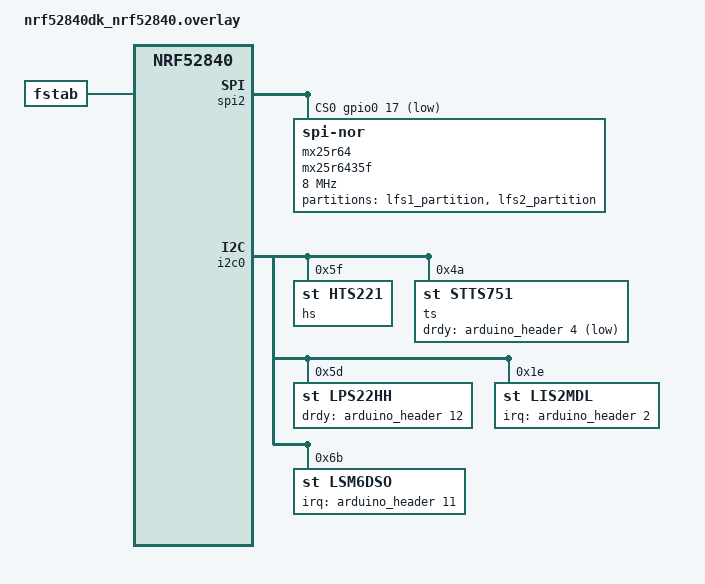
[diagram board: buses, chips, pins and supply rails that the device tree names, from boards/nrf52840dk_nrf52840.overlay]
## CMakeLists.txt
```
# SPDX-License-Identifier: Apache-2.0

cmake_minimum_required(VERSION 3.20.0)
find_package(Zephyr REQUIRED HINTS $ENV{ZEPHYR_BASE})
project(sensor_demo)

FILE(GLOB app_sources src/*.c)
target_sources(app PRIVATE ${app_sources})
```

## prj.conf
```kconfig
CONFIG_I2C=y
CONFIG_SENSOR=y
CONFIG_CBPRINTF_FP_SUPPORT=y
CONFIG_LOG=y
CONFIG_SHELL=y

CONFIG_FLASH=y
CONFIG_FLASH_MAP=y

CONFIG_FILE_SYSTEM=y
CONFIG_FILE_SYSTEM_LITTLEFS=y
```

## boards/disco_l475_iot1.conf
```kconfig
CONFIG_LSM6DSL_TRIGGER_GLOBAL_THREAD=y
```

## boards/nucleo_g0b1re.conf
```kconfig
CONFIG_HTS221_TRIGGER_NONE=y
CONFIG_LPS22HH_TRIGGER_OWN_THREAD=y
CONFIG_STTS751_TRIGGER_NONE=y
CONFIG_LIS2MDL_TRIGGER_NONE=y
CONFIG_LSM6DSO_ENABLE_TEMP=n
CONFIG_LSM6DSO_TRIGGER_OWN_THREAD=y
```

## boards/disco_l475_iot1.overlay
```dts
/delete-node/ &boot_partition;
/delete-node/ &slot0_partition;
/delete-node/ &slot1_partition;
/delete-node/ &storage_partition;

&flash0 {
    partitions {
        compatible = "fixed-partitions";
        #address-cells = <1>;
        #size-cells = <1>;

        boot_partition: partition@0 {
            label = "mcuboot";
            reg = <0x0 DT_SIZE_K(64)>;
            read-only;
        };

        slot0_partition: partition@10000 {
            label = "image-0";
            reg = <0x10000 DT_SIZE_K(64)>;
        };

        slot1_partition: partition@20000 {
            label = "image-1";
            reg = <0x20000 DT_SIZE_K(64)>;
        };

        storage_partition: partition@30000 {
            label = "storage";
            reg = <0x30000 DT_SIZE_K(100)>;
        };

        lfs1_partition: partition@49000 {
            label = "lfs1";
            reg = <0x49000 DT_SIZE_K(100)>;
        };

        lfs2_partition: partition@62000 {
            label = "lfs2";
            reg = <0x62000 DT_SIZE_K(100)>;
        };
    };
};

/ {

    aliases {
        imu-sensor = &lsm6dso;
        hum-sensor = &hs;
        magn-sensor = &lis2mdl;
        pressure-sensor = &lps22hh;
        temp-sensor = &ts;
    };
};

&i2c2 {

    hts: hts221@5f {
        compatible = "st,hts221";
        reg = <0x5f>;
        drdy-gpios = <&gpiod 15 GPIO_ACTIVE_HIGH>;
    };

    lps22hb: lps22hb-press@5d {
        compatible = "st,lps22hb-press";
        reg = <0x5d>;
        drdy-gpios = <&arduino_header 12 GPIO_ACTIVE_HIGH>; /* D6 */
    };

    lsm6dsl: lsm6dsl@6a {
        compatible = "st,lsm6dsl";
        reg = <0x6a>;
        irq-gpios = <&gpiod 11 GPIO_ACTIVE_HIGH>;
    };
};
```

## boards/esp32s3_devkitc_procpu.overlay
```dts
/delete-node/ &boot_partition;
/delete-node/ &slot0_partition;
/delete-node/ &slot1_partition;
/delete-node/ &storage_partition;

&flash0 {
    partitions {
        compatible = "fixed-partitions";
        #address-cells = <1>;
        #size-cells = <1>;

        boot_partition: partition@0 {
            label = "mcuboot";
            reg = <0x0 DT_SIZE_K(64)>;
            read-only;
        };

        slot0_partition: partition@10000 {
            label = "image-0";
            reg = <0x10000 DT_SIZE_K(64)>;
        };

        slot1_partition: partition@20000 {
            label = "image-1";
            reg = <0x20000 DT_SIZE_K(64)>;
        };

        storage_partition: partition@30000 {
            label = "storage";
            reg = <0x30000 DT_SIZE_K(100)>;
        };

        lfs1_partition: partition@49000 {
            label = "lfs1";
            reg = <0x49000 DT_SIZE_K(100)>;
        };

        lfs2_partition: partition@62000 {
            label = "lfs2";
            reg = <0x62000 DT_SIZE_K(100)>;
        };
    };
};

/ {

    aliases {
        imu-sensor = &lsm6dso;
        hum-sensor = &hs;
        magn-sensor = &lis2mdl;
        pressure-sensor = &lps22hh;
        temp-sensor = &ts;
    };
};

&i2c0 {
    status = "okay";
    hs: hts221@5f {
        compatible = "st,hts221";
        reg = <0x5f>;
    };

    ts: stts751@4a {
        compatible = "st,stts751";
        reg = <0x4a>;
    };

    lps22hh: lps22hh@5d {
        compatible = "st,lps22hh";
        reg = <0x5d>;
    };

    lis2mdl: lis2mdl@1e {
        compatible = "st,lis2mdl";
        reg = <0x1e>;
    };

    lsm6dso: lsm6dso@6b {
        compatible = "st,lsm6dso";
        reg = <0x6b>;
        irq-gpios = <&gpio0 11 GPIO_ACTIVE_HIGH>;
        int-pin = <2>;
    };
};
```

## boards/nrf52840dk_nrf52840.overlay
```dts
/delete-node/ &mx25r64;

&qspi {
    status = "disabled";
};

/* The mx25, on nrf52840dk/nrf52840, uses pins for spi0, spi1, spi2 and spi3
 * to provide quad-spi feature. In individual specifications each of the spi
 * notes define own clock source (SCK), but spi2 shares the same clock source
 * as qspi configuration, which is pin (0,19). That is why spi2 is used here
 * to communicate with mx25, when qspi is not used, to avoid rerouting clock
 * pin.
 */
&spi2 {
    compatible = "nordic,nrf-spi";
    status = "okay";
    cs-gpios = <&gpio0 17 GPIO_ACTIVE_LOW>;
    pinctrl-0 = <&spi2_default>;
    pinctrl-1 = <&spi2_sleep>;
    pinctrl-names = "default", "sleep";
    mx25r64: mx25r6435f@0 {
        compatible = "jedec,spi-nor";
        reg = <0>;
        spi-max-frequency = <8000000>;
        jedec-id = [c2 28 17];
        sfdp-bfp = [e5 20 f1 ff ff ff ff 03 44 eb 08 6b 08 3b 04 bb
                    ee ff ff ff ff ff 00 ff ff ff 00 ff 0c 20 0f 52
                    10 d8 00 ff 23 72 f5 00 82 ed 04 cc 44 83 68 44
                    30 b0 30 b0 f7 c4 d5 5c 00 be 29 ff f0 d0 ff ff];
        size = <67108864>;
        has-dpd;
        t-enter-dpd = <10000>;
        t-exit-dpd = <35000>;
    };
};

&mx25r64 {
    partitions {
        compatible = "fixed-partitions";
        #address-cells = <1>;
        #size-cells = <1>;

        lfs1_partition: partition@0 {
            label = "lfs1_partition";
            reg = <0x00000000 0x00010000>;
        };
        lfs2_partition: partition@10000 {
            label = "lfs2_partition";
            reg = <0x00010000 0x00010000>;
        };
    };
};

/ {

    aliases {
        imu-sensor = &lsm6dso;
        hum-sensor = &hs;
        magn-sensor = &lis2mdl;
        pressure-sensor = &lps22hh;
        temp-sensor = &ts;
    };
};

&i2c0 {
    hs: hts221@5f {
        compatible = "st,hts221";
        reg = <0x5f>;
    };

    ts: stts751@4a {
        compatible = "st,stts751";
        reg = <0x4a>;
        drdy-gpios = <&arduino_header 4 GPIO_ACTIVE_LOW>; /* A4 */
    };

    lps22hh: lps22hh@5d {
        compatible = "st,lps22hh";
        reg = <0x5d>;
        drdy-gpios = <&arduino_header 12 GPIO_ACTIVE_HIGH>; /* D6 */
    };

    lis2mdl: lis2mdl@1e {
        compatible = "st,lis2mdl";
        reg = <0x1e>;
        irq-gpios = <&arduino_header 2 GPIO_ACTIVE_HIGH>; /* A2 */
    };

    lsm6dso: lsm6dso@6b {
        compatible = "st,lsm6dso";
        reg = <0x6b>;
        irq-gpios = <&arduino_header 11 GPIO_ACTIVE_HIGH>; /* D5 */
        int-pin = <2>;
    };
};

/ {
    fstab {
        compatible = "zephyr,fstab";
        lfs1: lfs1 {
            compatible = "zephyr,fstab,littlefs";
            read-size = <16>;
            prog-size = <16>;
            cache-size = <64>;
            lookahead-size = <32>;
            block-cycles = <512>;
            partition = <&lfs1_partition>;
            mount-point = "/lfs1";
            automount;
        };
        lfs2: lfs2 {
            compatible = "zephyr,fstab,littlefs";
            read-size = <16>;
            prog-size = <16>;
            cache-size = <64>;
            lookahead-size = <32>;
            block-cycles = <512>;
            partition = <&lfs2_partition>;
            mount-point = "/lfs2";
            automount;
        };
    };
};
```

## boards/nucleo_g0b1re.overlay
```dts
/delete-node/ &boot_partition;
/delete-node/ &slot0_partition;
/delete-node/ &slot1_partition;
/delete-node/ &storage_partition;

&flash0 {
    partitions {
        compatible = "fixed-partitions";
        #address-cells = <1>;
        #size-cells = <1>;

        boot_partition: partition@0 {
            label = "mcuboot";
            reg = <0x0 DT_SIZE_K(64)>;
            read-only;
        };

        slot0_partition: partition@10000 {
            label = "image-0";
            reg = <0x10000 DT_SIZE_K(64)>;
        };

        slot1_partition: partition@20000 {
            label = "image-1";
            reg = <0x20000 DT_SIZE_K(64)>;
        };

        storage_partition: partition@30000 {
            label = "storage";
            reg = <0x30000 DT_SIZE_K(100)>;
        };

        lfs1_partition: partition@49000 {
            label = "lfs1";
            reg = <0x49000 DT_SIZE_K(100)>;
        };

        lfs2_partition: partition@62000 {
            label = "lfs2";
            reg = <0x62000 DT_SIZE_K(100)>;
        };
    };
};

/ {

    aliases {
        imu-sensor = &lsm6dso;
        hum-sensor = &hs;
        magn-sensor = &lis2mdl;
        pressure-sensor = &lps22hh;
        temp-sensor = &ts;
    };
};

arduino_i2c: &i2c1 {
    hs: hts221@5f {
        compatible = "st,hts221";
        reg = <0x5f>;
    };

    ts: stts751@4a {
        compatible = "st,stts751";
        reg = <0x4a>;
        drdy-gpios = <&arduino_header 4 GPIO_ACTIVE_LOW>; /* A4 */
    };

    lps22hh: lps22hh@5d {
        compatible = "st,lps22hh";
        reg = <0x5d>;
        drdy-gpios = <&arduino_header 12 GPIO_ACTIVE_HIGH>; /* D6 */
    };

    lis2mdl: lis2mdl@1e {
        compatible = "st,lis2mdl";
        reg = <0x1e>;
        irq-gpios = <&arduino_header 2 GPIO_ACTIVE_HIGH>; /* A2 */
    };

    lsm6dso: lsm6dso@6b {
        compatible = "st,lsm6dso";
        reg = <0x6b>;
        irq-gpios = <&arduino_header 11 GPIO_ACTIVE_HIGH>; /* D5 */
        int-pin = <2>;
    };
};

/ {
    fstab {
        compatible = "zephyr,fstab";
        lfs1: lfs1 {
            compatible = "zephyr,fstab,littlefs";
            read-size = <256>;
            prog-size = <256>;
            cache-size = <4096>;
            lookahead-size = <256>;
            block-cycles = <512>;
            partition = <&lfs1_partition>;
            mount-point = "/lfs1";
            automount;
        };
        lfs2: lfs2 {
            compatible = "zephyr,fstab,littlefs";
            read-size = <256>;
            prog-size = <256>;
            cache-size = <4096>;
            lookahead-size = <256>;
            block-cycles = <512>;
            partition = <&lfs2_partition>;
            mount-point = "/lfs2";
            automount;
        };
    };
};
```

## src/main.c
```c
/**
 * @file main.c
 * @author Ankit Modi (ankit.5036@gmail.com)
 * @brief Entry point for the Zephyr LVGL Showcase Application.
 *
 * This file contains the main function for the Zephyr LVGL Showcase Application.
 * It initializes the logging module and prints a startup message indicating
 * the board on which the application is running.
 *
 * @copyright Copyright (c) 2025
 *
 */
//------------------------------------------------------------------------------

//------------------------------------------------------------------------------
// Includes
//------------------------------------------------------------------------------

#include <zephyr/logging/log.h>

//------------------------------------------------------------------------------
// #define/Constants/Macros
//------------------------------------------------------------------------------

//------------------------------------------------------------------------------
// typedef/structs/enums
//------------------------------------------------------------------------------

//------------------------------------------------------------------------------
// Private Variables
//------------------------------------------------------------------------------

LOG_MODULE_REGISTER(main);

//------------------------------------------------------------------------------
// Main Entry Function
//------------------------------------------------------------------------------

/**
 * @brief Main entry point of the application.
 * @return int Returns 0 upon successful execution.
 */

int main(void)
{
    LOG_INF("Zephyr LVGL Showcase Application Started on %s.", CONFIG_BOARD);
    return 0;
}
```

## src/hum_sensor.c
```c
/**
 * @file hum_sensor.c
 * @author Ankit Modi (ankit.5036@gmail.com)
 * @brief Humidity sensor interface.
 *
 * This file implements initialization, sampling, and logging of humidity
 * data from a sensor using Zephyr's sensor API. It creates a thread to periodically
 * fetch and display sensor readings.
 *
 * @copyright Copyright (c) 2025
 *
 */
//------------------------------------------------------------------------------

//------------------------------------------------------------------------------
// Includes
//------------------------------------------------------------------------------

#include <zephyr/device.h>
#include <zephyr/drivers/sensor.h>
#include <zephyr/kernel.h>
#include <zephyr/logging/log.h>

//------------------------------------------------------------------------------
// #define/Constants/Macros
//------------------------------------------------------------------------------
#define HUMID_THREAD_STACK_SIZE 512
#define HUMID_THREAD_PRIORITY   5

#define HUMID_SAMPLE_DELAY 1 // 1 Second

#if DT_NODE_EXISTS(DT_ALIAS(hum_sensor))
#define HUMID_NODE DT_ALIAS(hum_sensor)
static const struct device *const hum_dev = DEVICE_DT_GET(HUMID_NODE);
#else
#error("Humidity sensor not found.");
#endif

//------------------------------------------------------------------------------
// typedef/structs/enums
//------------------------------------------------------------------------------

//------------------------------------------------------------------------------
// Private Variables
//------------------------------------------------------------------------------

LOG_MODULE_REGISTER(hum);

K_THREAD_STACK_DEFINE(hum_stack_area, HUMID_THREAD_STACK_SIZE);

static struct k_thread hum_thread;
static k_tid_t hum_tid;

//------------------------------------------------------------------------------
// Private Function Prototypes
//------------------------------------------------------------------------------

static void humidity_sensor_thread(void *arg0, void *arg1, void *arg2);
static int humidity_sensor_process_sample(double *hum);
static int humidity_sensor_init(void);

//------------------------------------------------------------------------------
// Public Function Implementation
//------------------------------------------------------------------------------

//------------------------------------------------------------------------------
// Private Function Implementation
//------------------------------------------------------------------------------

/* Humidity Sensor Thread Function */
static void humidity_sensor_thread(void *arg0, void *arg1, void *arg2)
{
    while (1) {
        double hum;
        if (humidity_sensor_process_sample(&hum) < 0) {
            return;
        }

        /* display humidity */
        LOG_INF("Relative Humidity:%.1f%%", hum);
        k_sleep(K_SECONDS(HUMID_SAMPLE_DELAY));
    }
}

/**
 * @brief Process and log the humidity sensor sample.
 *
 * This function fetches the latest sensor data, checks if the device is ready,
 * and logs the temperature values. The measured humidity are returned via the provided pointers.
 *
 * @param hum Pointer to store the measured humidity value.
 * @return int Returns 0 on success, or a negative error code on failure.
 */
static int humidity_sensor_process_sample(double *hum)
{
    if (!device_is_ready(hum_dev)) {
        LOG_ERR("sensor: %s device not ready.", hum_dev->name);
        return -ENODEV;
    }

    if (sensor_sample_fetch(hum_dev) < 0) {
        LOG_ERR("sensor: %s sample update error", hum_dev->name);
        return -EIO;
    }

    struct sensor_value temp_val, hum_val;
    if (sensor_channel_get(hum_dev, SENSOR_CHAN_HUMIDITY, &hum_val) < 0) {
        LOG_ERR("sensor: %s read humidity channel failed", hum_dev->name);
        return -EINVAL;
    }
    *hum = sensor_value_to_double(&hum_val);

    if (sensor_channel_get(hum_dev, SENSOR_CHAN_AMBIENT_TEMP, &temp_val) < 0) {
        LOG_ERR("sensor: %s read temperature channel failed", hum_dev->name);
        return -EINVAL;
    }
    return 0;
}

/**
 * @brief Initialize the humidity sensor.
 *
 * This function checks if the sensor device is ready and processes an initial sample.
 *
 * @return int Returns 0 upon successful initialization, or a negative error code on failure.
 */
static int humidity_sensor_init(void)
{
    if (!device_is_ready(hum_dev)) {
        LOG_ERR("sensor: %s device not ready.", hum_dev->name);
        return -ENODEV;
    }

    hum_tid = k_thread_create(&hum_thread, hum_stack_area, K_THREAD_STACK_SIZEOF(hum_stack_area),
                              humidity_sensor_thread, NULL, NULL, NULL, HUMID_THREAD_PRIORITY, 0, K_NO_WAIT);
    LOG_INF("Humidity sensor %s initialized.", hum_dev->name);
    return 0;
}

SYS_INIT(humidity_sensor_init, APPLICATION, CONFIG_APPLICATION_INIT_PRIORITY);
```

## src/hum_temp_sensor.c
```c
/**
 * @file hum_temp_sensor.c
 * @author Ankit Modi (ankit.5036@gmail.com)
 * @brief Humidity and Temperature sensor interface.
 *
 * This file implements initialization, sampling, and logging of humidity and temperature
 * data from a sensor using Zephyr's sensor API. It creates a thread to periodically
 * fetch and display sensor readings.
 *
 * @copyright Copyright (c) 2025
 *
 */
//------------------------------------------------------------------------------

//------------------------------------------------------------------------------
// Includes
//------------------------------------------------------------------------------

#include <zephyr/device.h>
#include <zephyr/drivers/sensor.h>
#include <zephyr/kernel.h>
#include <zephyr/logging/log.h>

//------------------------------------------------------------------------------
// #define/Constants/Macros
//------------------------------------------------------------------------------
#define HTS_THREAD_STACK_SIZE 512
#define HTS_THREAD_PRIORITY   5

#define HTS_SAMPLE_DELAY 10 // 10 Seconds

#if DT_NODE_EXISTS(DT_ALIAS(ht_sensor))
#define HUM_TEMP_NODE DT_ALIAS(ht_sensor)
static const struct device *const hts_dev = DEVICE_DT_GET(DT_ALIAS(ht_sensor));
#else
#error("Humidity-Temperature sensor not found.");
#endif

//------------------------------------------------------------------------------
// typedef/structs/enums
//------------------------------------------------------------------------------

//------------------------------------------------------------------------------
// Private Variables
//------------------------------------------------------------------------------

LOG_MODULE_REGISTER(ht_sensor);

K_THREAD_STACK_DEFINE(hts_stack_area, HTS_THREAD_STACK_SIZE);

static struct k_thread hts_thread;
static k_tid_t hts_tid;

//------------------------------------------------------------------------------
// Private Function Prototypes
//------------------------------------------------------------------------------

static void hts_sensor_thread(void *arg0, void *arg1, void *arg2);
static int hum_temp_sensor_process_sample(double *hum, double *temp);
static int hun_temp_sensor_init(void);

//------------------------------------------------------------------------------
// Public Function Implementation
//------------------------------------------------------------------------------

//------------------------------------------------------------------------------
// Private Function Implementation
//------------------------------------------------------------------------------

/* Humidity-Temperature Sensor Thread Function */
static void hts_sensor_thread(void *arg0, void *arg1, void *arg2)
{
    while (1) {
        double hum, temp;
        if (hum_temp_sensor_process_sample(&hum, &temp) < 0) {
            return;
        }
        /* display temperature */
        LOG_INF("Temperature:%.1f C", temp);

        /* display humidity */
        LOG_INF("Relative Humidity:%.1f%%", hum);
        k_sleep(K_SECONDS(HTS_SAMPLE_DELAY));
    }
}

/**
 * @brief Process and log the humidity and temperature sensor sample.
 *
 * This function fetches the latest sensor data, checks if the device is ready,
 * and logs the temperature and humidity values. The measured humidity and temperature
 * are returned via the provided pointers.
 *
 * @param hum Pointer to store the measured humidity value.
 * @param temp Pointer to store the measured temperature value.
 * @return int Returns 0 on success, or a negative error code on failure.
 */
static int hum_temp_sensor_process_sample(double *hum, double *temp)
{
    if (!device_is_ready(hts_dev)) {
        LOG_ERR("sensor: %s device not ready.", hts_dev->name);
        return -ENODEV;
    }

    if (sensor_sample_fetch(hts_dev) < 0) {
        LOG_ERR("sensor: %s sample update error", hts_dev->name);
        return -EIO;
    }

    struct sensor_value temp_val, hum_val;
    if (sensor_channel_get(hts_dev, SENSOR_CHAN_AMBIENT_TEMP, &temp_val) < 0) {
        LOG_ERR("sensor: %s read temperature channel failed", hts_dev->name);
        return -EINVAL;
    }
    *temp = sensor_value_to_double(&temp_val);

    if (sensor_channel_get(hts_dev, SENSOR_CHAN_HUMIDITY, &hum_val) < 0) {
        LOG_ERR("sensor: %s read humidity channel failed", hts_dev->name);
        return -EINVAL;
    }
    *hum = sensor_value_to_double(&hum_val);
    return 0;
}

/**
 * @brief Initialize the humidity and temperature sensor.
 *
 * This function checks if the sensor device is ready and processes an initial sample.
 *
 * @return int Returns 0 upon successful initialization, or a negative error code on failure.
 */
static int hun_temp_sensor_init(void)
{
    if (!device_is_ready(hts_dev)) {
        LOG_ERR("sensor: %s device not ready.", hts_dev->name);
        return -ENODEV;
    }

    hts_tid = k_thread_create(&hts_thread, hts_stack_area, K_THREAD_STACK_SIZEOF(hts_stack_area), hts_sensor_thread,
                              NULL, NULL, NULL, HTS_THREAD_PRIORITY, 0, K_NO_WAIT);
    LOG_INF("Humidity-Temperature sensor %s initialized.", hts_dev->name);
    return 0;
}

SYS_INIT(hun_temp_sensor_init, APPLICATION, CONFIG_APPLICATION_INIT_PRIORITY);
```

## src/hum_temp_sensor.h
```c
#ifndef HUM_TEMP_SENSOR_H
#define HUM_TEMP_SENSOR_H

void hum_temp_sensor_process_sample(void);
int hun_temp_sensor_init(void);

#endif /* HUM_TEMP_SENSOR_H */
```

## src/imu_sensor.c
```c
/**
 * @file imu_sensor.c
 * @author Ankit Modi (ankit.5036@gmail.com)
 * @brief IMU sensor interface.
 *
 * This file implements initialization, sampling, and logging of IMU sensor data
 * (accelerometer and gyroscope) using Zephyr's sensor API. It creates a thread
 * for periodic sampling and logs the sensor values for use in the application.
 *
 * @copyright Copyright (c) 2025
 *
 */
//------------------------------------------------------------------------------

//------------------------------------------------------------------------------
// Includes
//------------------------------------------------------------------------------

#include <zephyr/device.h>
#include <zephyr/drivers/sensor.h>
#include <zephyr/kernel.h>
#include <zephyr/logging/log.h>

//------------------------------------------------------------------------------
// #define/Constants/Macros
//------------------------------------------------------------------------------
#define IMU_THREAD_STACK_SIZE 768
#define IMU_THREAD_PRIORITY   5

#define IMU_SAMPLE_DELAY 1 // 1 Second

#if DT_NODE_EXISTS(DT_ALIAS(imu_sensor))
#define HUM_TEMP_NODE DT_ALIAS(imu_sensor)
static const struct device *const imu_dev = DEVICE_DT_GET(DT_ALIAS(imu_sensor));
#else
#error("IMU sensor not found.");
#endif

//------------------------------------------------------------------------------
// typedef/structs/enums
//------------------------------------------------------------------------------

typedef struct {
    double x;
    double y;
    double z;
} imu_sample_t;

typedef imu_sample_t accel_t;
typedef imu_sample_t gyro_t;

//------------------------------------------------------------------------------
// Private Variables
//------------------------------------------------------------------------------

LOG_MODULE_REGISTER(imu);

K_THREAD_STACK_DEFINE(imu_stack_area, IMU_THREAD_STACK_SIZE);

static struct k_thread imu_thread;
static k_tid_t imu_tid;

static struct sensor_value accel_x, accel_y, accel_z;
static struct sensor_value gyro_x, gyro_y, gyro_z;

//------------------------------------------------------------------------------
// Private Function Prototypes
//------------------------------------------------------------------------------

static void imu_sensor_thread(void *arg0, void *arg1, void *arg2);
static int imu_sensor_sample_process(accel_t *accel_val, gyro_t *gyro_val);
static int imu_sensor_init(void);

//------------------------------------------------------------------------------
// Public Function Implementation
//------------------------------------------------------------------------------

//------------------------------------------------------------------------------
// Private Function Implementation
//------------------------------------------------------------------------------

/* IMU Sensor Thread Function */
static void imu_sensor_thread(void *arg0, void *arg1, void *arg2)
{
    while (1) {
        accel_t accel;
        gyro_t gyro;

        if (imu_sensor_sample_process(&accel, &gyro) < 0) {
            return;
        }

        LOG_INF("Accel (m*s^-2): x:%.3f y:%.3f z:%.3f", accel.x, accel.y, accel.z);
        LOG_INF("Gyro (dps): x:%.3f y:%.3f z:%.3f", gyro.x, gyro.y, gyro.z);

        k_sleep(K_SECONDS(IMU_SAMPLE_DELAY));
    }
}
/**
 * @brief Fetch and process IMU sensor sample.
 *
 * This function checks if the IMU device is ready, fetches the latest sensor data,
 * reads accelerometer and gyroscope values, and stores them in the provided structures.
 *
 * @param accel_val Pointer to accel_t structure to store accelerometer values.
 * @param gyro_val Pointer to gyro_t structure to store gyroscope values.
 * @return int Returns 0 on success, or a negative error code on failure.
 */
static int imu_sensor_sample_process(accel_t *accel_val, gyro_t *gyro_val)
{
    if (!device_is_ready(imu_dev)) {
        LOG_ERR("sensor: %s device not ready.", imu_dev->name);
        return -ENODEV;
    }

    if (sensor_sample_fetch(imu_dev) < 0) {
        LOG_ERR("sensor: %s sample update error", imu_dev->name);
        return -EIO;
    }

    /* IMU accel */
    if (sensor_sample_fetch_chan(imu_dev, SENSOR_CHAN_ACCEL_XYZ) < 0) {
        LOG_ERR("sensor: %s sample accel update error", imu_dev->name);
        return -EIO;
    }

    if ((sensor_channel_get(imu_dev, SENSOR_CHAN_ACCEL_X, &accel_x) < 0) ||
        (sensor_channel_get(imu_dev, SENSOR_CHAN_ACCEL_Y, &accel_y) < 0) ||
        (sensor_channel_get(imu_dev, SENSOR_CHAN_ACCEL_Z, &accel_z) < 0)) {
        LOG_ERR("sensor: %s read accel channel failed", imu_dev->name);
        return -EINVAL;
    }
    accel_val->x = sensor_value_to_double(&accel_x);
    accel_val->y = sensor_value_to_double(&accel_y);
    accel_val->z = sensor_value_to_double(&accel_z);

    /* IMU gyro */
    if (sensor_sample_fetch_chan(imu_dev, SENSOR_CHAN_GYRO_XYZ) < 0) {
        LOG_ERR("sensor: %s sample gyro update error", imu_dev->name);
        return -EIO;
    }

    if ((sensor_channel_get(imu_dev, SENSOR_CHAN_GYRO_X, &gyro_x) < 0) ||
        (sensor_channel_get(imu_dev, SENSOR_CHAN_GYRO_Y, &gyro_y) < 0) ||
        (sensor_channel_get(imu_dev, SENSOR_CHAN_GYRO_Z, &gyro_z) < 0)) {
        LOG_ERR("sensor: %s read gyro channel failed", imu_dev->name);
        return -EINVAL;
    }

    gyro_val->x = sensor_value_to_double(&gyro_x);
    gyro_val->y = sensor_value_to_double(&gyro_y);
    gyro_val->z = sensor_value_to_double(&gyro_z);
    return 0;
}

/**
 * @brief Initialize the IMU sensor.
 *
 * This function checks if the IMU device is ready and sets the sampling frequency
 * for accelerometer and gyroscope channels.
 *
 * @return int Returns 0 on success, or a negative error code on failure.
 */
static int imu_sensor_init(void)
{
    if (!device_is_ready(imu_dev)) {
        LOG_ERR("sensor: %s device not ready.", imu_dev->name);
        return -ENODEV;
    }

    /* set accel/gyro sampling frequency to 104 Hz */
    struct sensor_value odr_attr;
    odr_attr.val1 = 104;
    odr_attr.val2 = 0;

    if (sensor_attr_set(imu_dev, SENSOR_CHAN_ACCEL_XYZ, SENSOR_ATTR_SAMPLING_FREQUENCY, &odr_attr) < 0) {
        LOG_ERR("sensor: %s cannot set sampling frequency for accelerometer.", imu_dev->name);
        return -EINVAL;
    }

    if (sensor_attr_set(imu_dev, SENSOR_CHAN_GYRO_XYZ, SENSOR_ATTR_SAMPLING_FREQUENCY, &odr_attr) < 0) {
        LOG_ERR("sensor: %s cannot set sampling frequency for gyro.", imu_dev->name);
        return -EINVAL;
    }

    imu_tid = k_thread_create(&imu_thread, imu_stack_area, K_THREAD_STACK_SIZEOF(imu_stack_area), imu_sensor_thread,
                              NULL, NULL, NULL, IMU_THREAD_PRIORITY, 0, K_NO_WAIT);

    LOG_INF("IMU sensor %s initialized.", imu_dev->name);
    return 0;
}

SYS_INIT(imu_sensor_init, APPLICATION, CONFIG_APPLICATION_INIT_PRIORITY);
```

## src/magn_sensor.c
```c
/**
 * @file magn_sensor.c
 * @author Ankit Modi (ankit.5036@gmail.com)
 * @brief Magnetometer sensor interface.
 *
 * This file implements initialization, sampling, and logging of Magnetometer sensor data
 * using Zephyr's sensor API. It creates a thread for periodic sampling and logs the
 * sensor values for use in the application.
 *
 * @copyright Copyright (c) 2025
 *
 */
//------------------------------------------------------------------------------

//------------------------------------------------------------------------------
// Includes
//------------------------------------------------------------------------------

#include <zephyr/device.h>
#include <zephyr/drivers/sensor.h>
#include <zephyr/kernel.h>
#include <zephyr/logging/log.h>

//------------------------------------------------------------------------------
// #define/Constants/Macros
//------------------------------------------------------------------------------
#define MAGN_THREAD_STACK_SIZE 768
#define MAGN_THREAD_PRIORITY   5

#define MAGN_SAMPLE_DELAY 1 // 1 Second

#if DT_NODE_EXISTS(DT_ALIAS(magn_sensor))
#define MAGN_NODE DT_ALIAS(magn_sensor)
static const struct device *const magn_dev = DEVICE_DT_GET(MAGN_NODE);
#else
#error("Magnetometer sensor not found.");
#endif

//------------------------------------------------------------------------------
// typedef/structs/enums
//------------------------------------------------------------------------------

typedef struct {
    double magn_x;
    double magn_y;
    double magn_z;
} magn_t;

//------------------------------------------------------------------------------
// Private Variables
//------------------------------------------------------------------------------

LOG_MODULE_REGISTER(magn);

K_THREAD_STACK_DEFINE(magn_stack_area, MAGN_THREAD_STACK_SIZE);

static struct k_thread magn_thread;
static k_tid_t magn_tid;

//------------------------------------------------------------------------------
// Private Function Prototypes
//------------------------------------------------------------------------------

static void magn_sensor_thread(void *arg0, void *arg1, void *arg2);
static int magn_sensor_sample_process(magn_t *magn_val);
static int magn_sensor_init(void);

//------------------------------------------------------------------------------
// Public Function Implementation
//------------------------------------------------------------------------------

//------------------------------------------------------------------------------
// Private Function Implementation
//------------------------------------------------------------------------------

/* IMU Sensor Thread Function */
static void magn_sensor_thread(void *arg0, void *arg1, void *arg2)
{
    while (1) {
        magn_t magn;

        if (magn_sensor_sample_process(&magn) < 0) {
            return;
        }

        LOG_INF("Magn (gauss): x:%.3f y:%.3f z:%.3f", magn.magn_x, magn.magn_y, magn.magn_z);

        k_sleep(K_SECONDS(MAGN_SAMPLE_DELAY));
    }
}
/**
 * @brief Fetch and process Magnetometer sensor sample.
 *
 * This function checks if the Magnetometer device is ready, fetches the latest sensor data,
 * reads magnetometer values, and stores them in the provided structures.
 *
 * @param magn_val Pointer to accel_t structure to store magnetometer values.
 * @return int Returns 0 on success, or a negative error code on failure.
 */
static int magn_sensor_sample_process(magn_t *magn_val)
{
    if (!device_is_ready(magn_dev)) {
        LOG_ERR("sensor: %s device not ready.", magn_dev->name);
        return -ENODEV;
    }

    if (sensor_sample_fetch(magn_dev) < 0) {
        LOG_ERR("sensor: %s sample update error", magn_dev->name);
        return -EIO;
    }

    /* magnetometer */
    struct sensor_value magn[3];
    if (sensor_channel_get(magn_dev, SENSOR_CHAN_MAGN_XYZ, magn) < 0) {
        LOG_ERR("sensor: %s read magn channel failed", magn_dev->name);
        return -EINVAL;
    }
    magn_val->magn_x = sensor_value_to_double(&magn[0]);
    magn_val->magn_y = sensor_value_to_double(&magn[1]);
    magn_val->magn_z = sensor_value_to_double(&magn[2]);

    return 0;
}

/**
 * @brief Initialize the IMU sensor.
 *
 * This function checks if the IMU device is ready and sets the sampling frequency
 * for accelerometer and gyroscope channels.
 *
 * @return int Returns 0 on success, or a negative error code on failure.
 */
static int magn_sensor_init(void)
{
    if (!device_is_ready(magn_dev)) {
        LOG_ERR("sensor: %s device not ready.", magn_dev->name);
        return -ENODEV;
    }

    /* set sampling frequency to 100 Hz */
    struct sensor_value odr_attr;
    odr_attr.val1 = 100;
    odr_attr.val2 = 0;

    if (sensor_attr_set(magn_dev, SENSOR_CHAN_ALL, SENSOR_ATTR_SAMPLING_FREQUENCY, &odr_attr) < 0) {
        LOG_ERR("sensor: %s cannot set sampling frequency for magn.", magn_dev->name);
        return -EINVAL;
    }

    magn_tid = k_thread_create(&magn_thread, magn_stack_area, K_THREAD_STACK_SIZEOF(magn_stack_area),
                               magn_sensor_thread, NULL, NULL, NULL, MAGN_THREAD_PRIORITY, 0, K_NO_WAIT);

    LOG_INF("Magnetometer sensor %s initialized.", magn_dev->name);
    return 0;
}

SYS_INIT(magn_sensor_init, APPLICATION, CONFIG_APPLICATION_INIT_PRIORITY);
```

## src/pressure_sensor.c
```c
/**
 * @file pressure_sensor.c
 * @author Ankit Modi (ankit.5036@gmail.com)
 * @brief Pressure sensor interface.
 *
 * This file implements initialization, sampling, and logging of pressure sensor data
 * using Zephyr's sensor API. It creates a thread to periodically read and display
 * pressure values from the configured sensor device.
 *
 * @copyright Copyright (c) 2025
 *
 */
//------------------------------------------------------------------------------

//------------------------------------------------------------------------------
// Includes
//------------------------------------------------------------------------------

#include <zephyr/device.h>
#include <zephyr/drivers/sensor.h>
#include <zephyr/kernel.h>
#include <zephyr/logging/log.h>

//------------------------------------------------------------------------------
// #define Constants/Macros
//------------------------------------------------------------------------------
#define PS_THREAD_STACK_SIZE 512
#define PS_THREAD_PRIORITY   5

#define PS_SAMPLE_DELAY 1 // 1 Second

#if DT_NODE_EXISTS(DT_ALIAS(pressure_sensor))
#define PRESSURE_NODE DT_ALIAS(pressure_sensor)
const struct device *const pressure_dev = DEVICE_DT_GET(DT_ALIAS(pressure_sensor));
#else
#error("Pressure sensor not found.");
#endif

//------------------------------------------------------------------------------
// typedef/structs/enums
//------------------------------------------------------------------------------

//------------------------------------------------------------------------------
// Private Variables
//------------------------------------------------------------------------------

LOG_MODULE_REGISTER(press);

K_THREAD_STACK_DEFINE(ps_stack_area, PS_THREAD_STACK_SIZE);

static struct k_thread ps_thread;
static k_tid_t ps_tid;

//------------------------------------------------------------------------------
// Private Function Prototypes
//------------------------------------------------------------------------------

static void ps_sensor_thread(void *arg0, void *arg1, void *arg2);
static int pressure_sensor_process_sample(double *pressure);
static int pressure_sensor_init(void);

//------------------------------------------------------------------------------
// Public Function Implementation
//------------------------------------------------------------------------------

//------------------------------------------------------------------------------
// Private Function Implementation
//------------------------------------------------------------------------------

/* Pressure Sensor Thread Function */
static void ps_sensor_thread(void *arg0, void *arg1, void *arg2)
{
    while (1) {
        double pressure;
        if (pressure_sensor_process_sample(&pressure) < 0) {
            return;
        }

        /* display pressure */
        LOG_INF("Pressure:%.3f kPa", pressure);

        k_sleep(K_SECONDS(PS_SAMPLE_DELAY));
    }
}

/**
 * @brief Process and log the pressure sensor sample.
 *
 * This function fetches the latest sensor data, checks if the device is ready,
 * and logs the pressure value.
 *
 * @param pressure Pointer to store the measured pressure value.
 * @return int Returns 0 on success, or a negative error code on failure.
 */
static int pressure_sensor_process_sample(double *pressure)
{
    if (!device_is_ready(pressure_dev)) {
        LOG_ERR("sensor: %s device not ready.", pressure_dev->name);
        return -ENODEV;
    }

    if (sensor_sample_fetch(pressure_dev) < 0) {
        LOG_INF("sensor: %s sample update error", pressure_dev->name);
        return -EIO;
    }

    struct sensor_value pressure_val, temp_val;
    if (sensor_channel_get(pressure_dev, SENSOR_CHAN_PRESS, &pressure_val) < 0) {
        LOG_ERR("sensor: %s cannot read pressure channel", pressure_dev->name);
        return -EINVAL;
    }

    *pressure = sensor_value_to_double(&pressure_val);
    if (sensor_channel_get(pressure_dev, SENSOR_CHAN_AMBIENT_TEMP, &temp_val) < 0) {
        LOG_ERR("sensor: %s cannot read temperature channel", pressure_dev->name);
        return -EINVAL;
    }

    return 0;
}

/**
 * @brief Initialize the pressure sensor.
 *
 * This function checks if the pressure device is ready.
 *
 * @return int Returns 0 on success, or a negative error code on failure.
 */
static int pressure_sensor_init(void)
{
    if (!device_is_ready(pressure_dev)) {
        LOG_ERR("sensor: %s device not ready.", pressure_dev->name);
        return -ENODEV;
    }

    /* set sampling frequency to 100 Hz */
    struct sensor_value odr_attr;
    odr_attr.val1 = 100;
    odr_attr.val2 = 0;

    if (sensor_attr_set(pressure_dev, SENSOR_CHAN_ALL, SENSOR_ATTR_SAMPLING_FREQUENCY, &odr_attr) < 0) {
        printk("Cannot set sampling frequency for LPS22HH\n");
        return -EINVAL;
    }

    ps_tid = k_thread_create(&ps_thread, ps_stack_area, K_THREAD_STACK_SIZEOF(ps_stack_area), ps_sensor_thread, NULL,
                             NULL, NULL, PS_THREAD_PRIORITY, 0, K_NO_WAIT);
    LOG_INF("Pressure sensor %s initialized.", pressure_dev->name);
    return 0;
}

SYS_INIT(pressure_sensor_init, APPLICATION, CONFIG_APPLICATION_INIT_PRIORITY);
```

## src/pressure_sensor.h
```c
#ifndef PRESSURE_SENSOR_H
#define PRESSURE_SENSOR_H

void pressure_sensor_process_sample(void);
int pressure_sensor_init(void);

#endif /* PRESSURE_SENSOR_H */
```

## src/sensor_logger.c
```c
/**
 * @file sensor_logger.c
 * @brief
 *
 * @details
 *
 * @copyright Copyright (c) 2025
 */

//------------------------------------------------------------------------------
// Includes
//------------------------------------------------------------------------------

#include <zephyr/kernel.h>
#include <zephyr/logging/log.h>

//------------------------------------------------------------------------------
// #define/Constants/Macros
//------------------------------------------------------------------------------

//------------------------------------------------------------------------------
// typedef/structs/enums
//------------------------------------------------------------------------------

//------------------------------------------------------------------------------
// Static Assertions
//------------------------------------------------------------------------------

//------------------------------------------------------------------------------
// Private Variables
//------------------------------------------------------------------------------

LOG_MODULE_REGISTER(sensor_logger);

//------------------------------------------------------------------------------
// Global Variables
//------------------------------------------------------------------------------

//------------------------------------------------------------------------------
// Private Function Prototypes
//------------------------------------------------------------------------------

//------------------------------------------------------------------------------
// Public Function Prototypes
//------------------------------------------------------------------------------

//------------------------------------------------------------------------------
// Public Function Implementation
//------------------------------------------------------------------------------

//------------------------------------------------------------------------------
// Private Function Implementation
//------------------------------------------------------------------------------
```

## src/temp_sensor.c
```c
/**
 * @file temp_sensor.c
 * @author Ankit Modi (ankit.5036@gmail.com)
 * @brief Temperature sensor interface.
 *
 * This file implements initialization, sampling, and logging of temperature
 * data from a sensor using Zephyr's sensor API. It creates a thread to periodically
 * fetch and display sensor readings.
 *
 * @copyright Copyright (c) 2025
 *
 */
//------------------------------------------------------------------------------

//------------------------------------------------------------------------------
// Includes
//------------------------------------------------------------------------------

#include <zephyr/device.h>
#include <zephyr/drivers/sensor.h>
#include <zephyr/kernel.h>
#include <zephyr/logging/log.h>

//------------------------------------------------------------------------------
// #define/Constants/Macros
//------------------------------------------------------------------------------
#define TEMP_THREAD_STACK_SIZE 512
#define TEMP_THREAD_PRIORITY   5

#define TEMP_SAMPLE_DELAY 1 // 1 Second

#if DT_NODE_EXISTS(DT_ALIAS(temp_sensor))
#define TEMP_NODE DT_ALIAS(temp_sensor)
static const struct device *const temp_dev = DEVICE_DT_GET(TEMP_NODE);
#else
#error("Temperature sensor not found.");
#endif

//------------------------------------------------------------------------------
// typedef/structs/enums
//------------------------------------------------------------------------------

//------------------------------------------------------------------------------
// Private Variables
//------------------------------------------------------------------------------

LOG_MODULE_REGISTER(temp);

K_THREAD_STACK_DEFINE(temp_stack_area, TEMP_THREAD_STACK_SIZE);

static struct k_thread temp_thread;
static k_tid_t temp_tid;

//------------------------------------------------------------------------------
// Private Function Prototypes
//------------------------------------------------------------------------------

static void temp_sensor_thread(void *arg0, void *arg1, void *arg2);
static int temp_sensor_process_sample(double *temp);
static int temp_sensor_init(void);

//------------------------------------------------------------------------------
// Public Function Implementation
//------------------------------------------------------------------------------

//------------------------------------------------------------------------------
// Private Function Implementation
//------------------------------------------------------------------------------

/* Temperature Sensor Thread Function */
static void temp_sensor_thread(void *arg0, void *arg1, void *arg2)
{
    while (1) {
        double temp;
        if (temp_sensor_process_sample(&temp) < 0) {
            return;
        }
        /* display temperature */
        LOG_INF("Temperature:%.1f C", temp);

        k_sleep(K_SECONDS(TEMP_SAMPLE_DELAY));
    }
}

/**
 * @brief Process and log the temperature sensor sample.
 *
 * This function fetches the latest sensor data, checks if the device is ready,
 * and logs the humidity values. The measured temperature are returned via the provided pointers.
 *
 * @param temp Pointer to store the measured temperature value.
 * @return int Returns 0 on success, or a negative error code on failure.
 */
static int temp_sensor_process_sample(double *temp)
{
    if (!device_is_ready(temp_dev)) {
        LOG_ERR("sensor: %s device not ready.", temp_dev->name);
        return -ENODEV;
    }

    if (sensor_sample_fetch(temp_dev) < 0) {
        LOG_ERR("sensor: %s sample update error", temp_dev->name);
        return -EIO;
    }

    struct sensor_value temp_val;
    if (sensor_channel_get(temp_dev, SENSOR_CHAN_AMBIENT_TEMP, &temp_val) < 0) {
        LOG_ERR("sensor: %s read temperature channel failed", temp_dev->name);
        return -EINVAL;
    }
    *temp = sensor_value_to_double(&temp_val);

    return 0;
}

/**
 * @brief Initialize the temperature sensor.
 *
 * This function checks if the sensor device is ready and processes an initial sample.
 *
 * @return int Returns 0 upon successful initialization, or a negative error code on failure.
 */
static int temp_sensor_init(void)
{
    if (!device_is_ready(temp_dev)) {
        LOG_ERR("sensor: %s device not ready.", temp_dev->name);
        return -ENODEV;
    }

    temp_tid = k_thread_create(&temp_thread, temp_stack_area, K_THREAD_STACK_SIZEOF(temp_stack_area),
                               temp_sensor_thread, NULL, NULL, NULL, TEMP_THREAD_PRIORITY, 0, K_NO_WAIT);
    LOG_INF("Temperature sensor %s initialized.", temp_dev->name);
    return 0;
}

SYS_INIT(temp_sensor_init, APPLICATION, CONFIG_APPLICATION_INIT_PRIORITY);
```
